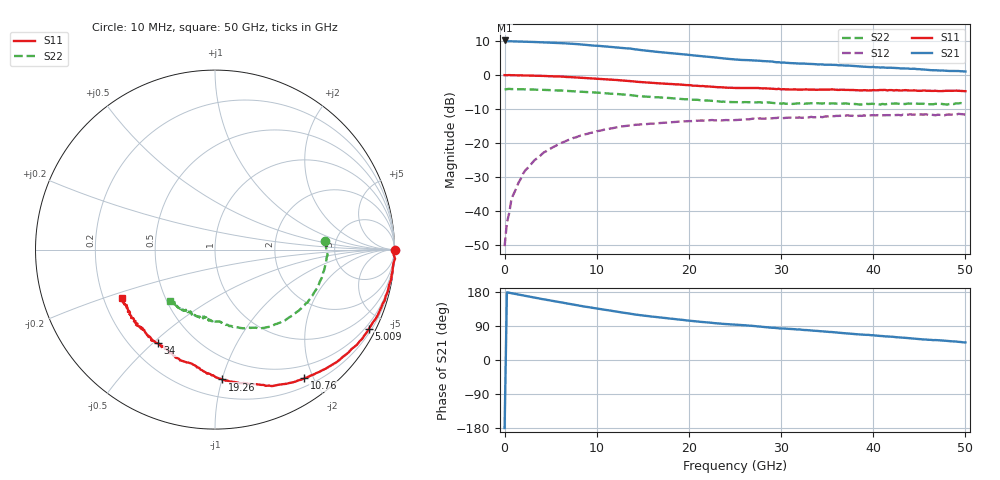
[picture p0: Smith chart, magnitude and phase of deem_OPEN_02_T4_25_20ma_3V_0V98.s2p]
# Hz S RI R 50
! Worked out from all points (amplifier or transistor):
!   201 points, 10 MHz to 50 GHz, reference 50 ohm
!   highest |S21| = 10.2 dB at 10 MHz (marker M1)
!   |S21| within 3 dB of that: start of sweep to 15.39 GHz
!   unconditionally stable (mu >= 1): nowhere
!   at 8.258 GHz: K = 0.21, MSG = 13.4 dB, |S12| = -17.8 dB
!   at 25 GHz: K = 0.70, MSG = 8.9 dB, |S12| = -13.2 dB
!   at 50 GHz: K = 0.93, MSG = 6.4 dB, |S12| = -11.6 dB
!   S11 on the Smith chart (normalised r, x): 10 MHz: open; 5.009 GHz: 0.33, -4.12; 10.76 GHz: 0.31, -1.87; 19.26 GHz: 0.33, -1.00; 34 GHz: 0.31, -0.52; 50 GHz: 0.28, -0.23
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1e7  1.002 -0.00281  -3.238 -0.0256  -0.00305 -0.000191  0.6131 0.0492
2.5995e8  0.9952 -0.0285  -3.148 0.0789  0.00136 0.00663  0.6233 -0.0168
5.099e8  1.003 -0.0505  -3.138 0.1491  -0.00024 0.00942  0.6279 -0.03
7.5985e8  0.9949 -0.0743  -3.138 0.2051  0.000807 0.0153  0.6225 -0.0419
1.5097e9  0.9835 -0.1449  -3.093 0.4038  0.00335 0.0258  0.6155 -0.0809
2.25955e9  0.9669 -0.2149  -3.045 0.5877  0.00522 0.0396  0.6063 -0.1194
3.25935e9  0.9347 -0.3008  -2.964 0.8088  0.0135 0.0547  0.5897 -0.1668
5.009e9  0.8582 -0.4402  -2.765 1.179  0.029 0.0783  0.5503 -0.2425
6.75865e9  0.759 -0.5557  -2.512 1.502  0.0481 0.098  0.4995 -0.3088
8.5083e9  0.6483 -0.6442  -2.211 1.734  0.0711 0.1105  0.4389 -0.3581
1.075785e10  0.4971 -0.7174  -1.809 1.942  0.1008 0.1209  0.3624 -0.4075
1.35073e10  0.3165 -0.7607  -1.331 2.083  0.1361 0.1199  0.2637 -0.437
1.5007e10  0.2308 -0.7499  -1.07 2.06  0.1508 0.1143  0.2173 -0.435
1.675665e10  0.147 -0.7445  -0.8387 2.02  0.1638 0.1097  0.1772 -0.438
1.925615e10  0.0402 -0.7233  -0.5623 1.956  0.1817 0.1015  0.1146 -0.4307
2.25055e10  -0.0718 -0.6721  -0.2521 1.818  0.2019 0.0851  0.0497 -0.4165
2.5005e10  -0.1291 -0.6354  -0.0979 1.696  0.2056 0.0756  0.0209 -0.4008
2.90042e10  -0.2343 -0.5882  0.1362 1.583  0.2227 0.063  -0.0334 -0.39
3.35033e10  -0.3126 -0.5285  0.3175 1.422  0.2357 0.0457  -0.0855 -0.3782
3.40032e10  -0.3173 -0.5214  0.3333 1.399  0.2394 0.0446  -0.0901 -0.3762
4.175165e10  -0.4427 -0.4089  0.6113 1.134  0.2581 0.0074  -0.1673 -0.3415
5e10  -0.5165 -0.267  0.7804 0.822  0.2592 -0.041  -0.2487 -0.2859
